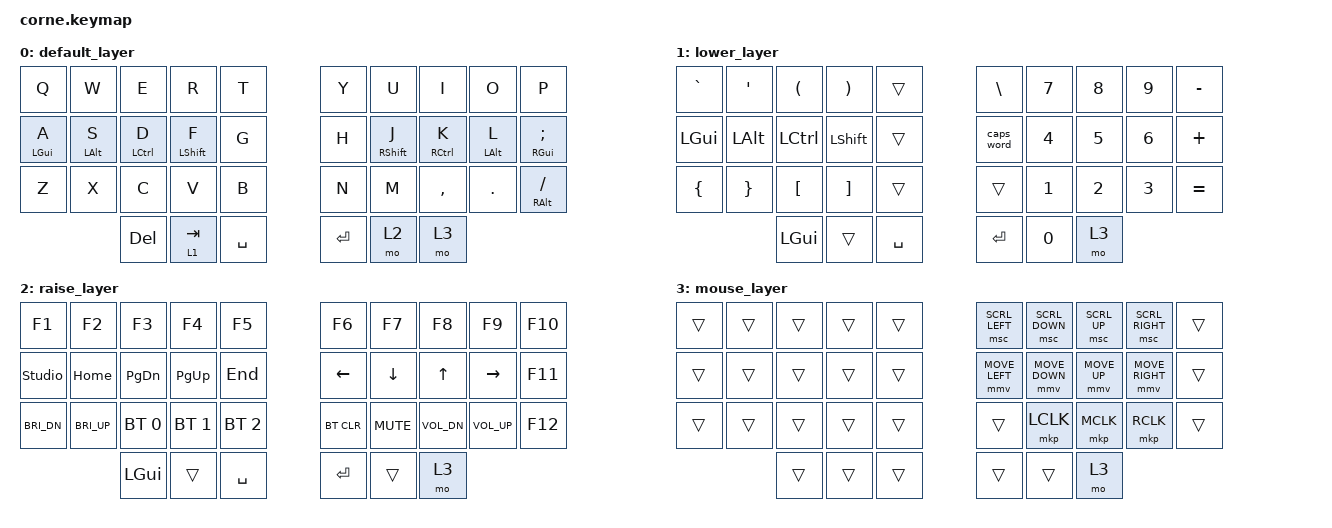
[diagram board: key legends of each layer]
/*
 * Copyright (c) 2020 The ZMK Contributors
 *
 * SPDX-License-Identifier: MIT
 */

#include <behaviors.dtsi>
#include <dt-bindings/zmk/keys.h>
#include <dt-bindings/zmk/bt.h>
#define ZMK_POINTING_DEFAULT_MOVE_VAL 1000
#include <dt-bindings/zmk/pointing.h>

/ {
    behaviors {
        mmv {
            time-to-max-speed-ms = <180>;
            acceleration-exponent = <1>;
        };

        hm: home_row_mod {
            compatible = "zmk,behavior-hold-tap";
            #binding-cells = <2>;
            flavor = "tap-unless-interrupted";
            tapping-term-ms = <170>;
            quick-tap-ms = <0>;
            require-prior-idle-ms = <125>;
            bindings = <&kp>, <&kp>;
        };
    };

    combos {
        compatible = "zmk,combos";

        combo_bspc {
            timeout-ms = <50>;
            key-positions = <7 8>;
            bindings = <&kp BSPC>;
        };

        combo_esc {
            timeout-ms = <50>;
            key-positions = <1 2>;
            bindings = <&kp ESC>;
        };

    };

    keymap {
        compatible = "zmk,keymap";

        default_layer {
// -----------------------------------------------------------------------------------------
// |  Q  |  W  |  E  |  R  |  T  |   |  Y  |  U  |  I  |  O  |  P  |
// |A/GUI|A/Alt|D/Ctl|F/Sft|  G  |   |  H  |J/Sft|K/Ctl|L/Alt|;/GUI|
// |  Z  |  X  |  C  |  V  |  B  |   |  N  |  M  |  ,  |  .  |  /  |
//             | DEL |T/LWR| SPC |   | ENT | RSE | MSE |
            bindings = <
   &kp Q        &kp W        &kp E         &kp R         &kp T   &kp Y &kp U         &kp I         &kp O        &kp P
   &hm LGUI A   &hm LALT S   &hm LCTRL D   &hm LSHFT F   &kp G   &kp H &hm RSHFT J   &hm RCTRL K   &hm LALT L   &hm RGUI SEMI
   &kp Z        &kp X        &kp C         &kp V         &kp B   &kp N &kp M         &kp COMMA     &kp DOT      &hm RALT FSLH
                             &kp DEL       &lt 1 TAB     &kp SPACE   &kp RET &mo 2   &mo 3
            >;
        };

        lower_layer {
// -----------------------------------------------------------------------------------------
// |  `  |  `  |  (  |  )  |     |   |  \  |  7  |  8  |  9  |  -  |
// | GUI | ALT | CTL | SFT |     |   | CAP |  4  |  5  |  6  |  +  |
// |  {  |  }  |  [  |  ]  |     |   |     |  1  |  2  |  3  |  =  |
//             | GUI |     | SPC |   | ENT |  0  | MSE |
            bindings = <
   &kp GRAVE    &kp SQT      &kp LPAR     &kp RPAR     &trans       &kp BSLH   &kp N7     &kp N8  &kp N9  &kp MINUS
   &kp LGUI     &kp LALT     &kp LCTRL    &kp LSHIFT   &trans       &caps_word &kp N4     &kp N5  &kp N6  &kp PLUS
   &kp LBRC     &kp RBRC     &kp LBKT     &kp RBKT     &trans       &trans     &kp N1     &kp N2  &kp N3  &kp EQUAL
                             &kp LGUI     &trans       &kp SPACE    &kp RET    &kp N0     &mo 3
            >;
        };

        raise_layer {
// -----------------------------------------------------------------------------------------
// | F1  | F2  | F3  | F4  | F5  |   | F6  | F7  | F8  | F9  | F10 |
// | STU | HOM | PDN | PUP | END |   | LFT | DWN |  UP | RGT | F11 |
// | BR- | BR+ | BT1 | BT2 | BR3 |   |BTCLR| MUT | V-  | V+  | F12 |
//             | GUI |     | SPC |   | ENT |     | MSE |
            bindings = <
   &kp F1         &kp F2       &kp F3       &kp F4        &kp F5       &kp F6     &kp F7       &kp F8       &kp F9       &kp F10
   &studio_unlock &kp HOME     &kp PG_DN    &kp PG_UP     &kp END      &kp LEFT   &kp DOWN     &kp UP       &kp RIGHT    &kp F11
   &kp C_BRI_DN   &kp C_BRI_UP &bt BT_SEL 0 &bt BT_SEL 1  &bt BT_SEL 2 &bt BT_CLR &kp C_MUTE   &kp C_VOL_DN &kp C_VOL_UP &kp F12
                               &kp LGUI     &trans        &kp SPACE    &kp RET    &trans    &mo 3
            >;
        };

        mouse_layer {
// -----------------------------------------------------------------------------------------
// |     |     |     |     |     |   | MSL | MSD | MSU | MSR |     |
// |     |     |     |     |     |   |  ←  |  ↓  |  ↑  |  →  |     |
// |     |     |     |     |     |   |     | LCK | MCK | RCK |     |
//             |     |     |     |   |     |     | MSE |
            bindings = <
   &trans &trans &trans &trans &trans   &msc SCRL_LEFT  &msc SCRL_DOWN  &msc SCRL_UP  &msc SCRL_RIGHT  &trans
   &trans &trans &trans &trans &trans   &mmv MOVE_LEFT  &mmv MOVE_DOWN  &mmv MOVE_UP  &mmv MOVE_RIGHT  &trans
   &trans &trans &trans &trans &trans   &trans          &mkp LCLK       &mkp MCLK     &mkp RCLK        &trans
                 &trans &trans &trans   &trans          &trans          &mo 3
            >;
        };
    };
};
